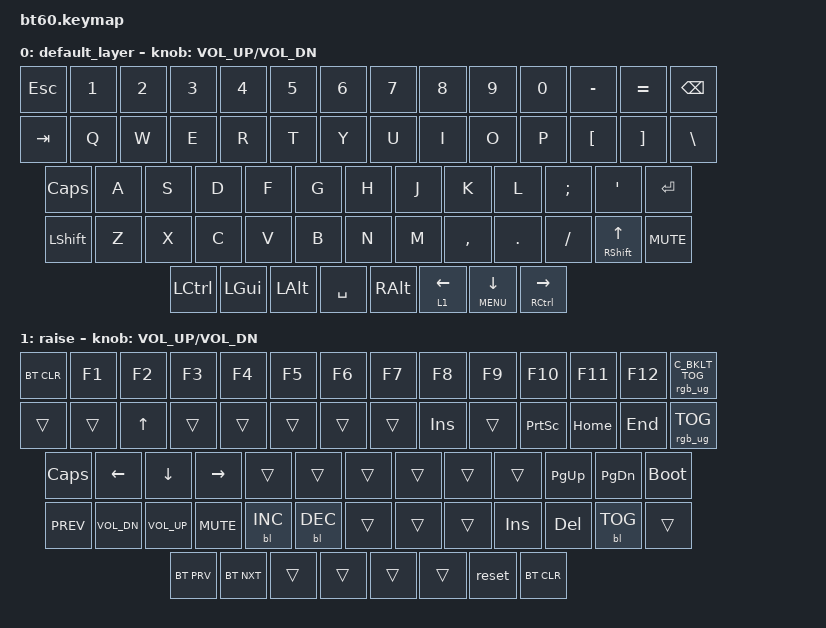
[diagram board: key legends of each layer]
#include <behaviors.dtsi>
#include <dt-bindings/zmk/keys.h>
#include <dt-bindings/zmk/bt.h>
#include <dt-bindings/zmk/rgb.h>
#include <dt-bindings/zmk/backlight.h>

/ {
	keymap {
		compatible = "zmk,keymap";

		default_layer {
				// ------------------------------------------------------------------------------------------
				// |  `  |  1  |  2  |  3  |  4  |  5  |  6  |  7  |  8  |  9  |  0  |  -  |  =  |   BKSP
				// | TAB  |  Q  |  W  |  E  |  R  |  T  |  Y  |  U  |  I  |  O  |  P  |  [  |  ]  |   |
				// | CAPS  |  A  |  S  |  D  |  F  |  G  |  H  |  J  |  K  |  L  |  ;  |  '  |     ENTER
				// |  SHIFT    |  Z  |  X  |  C  |  V  |  B  |  N  |  M  |  ,  |  .  | /   |      SHIFT | Encoder
				// |  CTL  |  WIN  |  ALT  |            SPACE               | ALT | 1    |  MENU    |  CTRL
				// ------------------------------------------------------------------------------------------
			bindings = <

				&kp ESC &kp N1 &kp N2 &kp N3 &kp N4 &kp N5 &kp N6 &kp N7 &kp  N8   &kp  N9 &kp  N0  &kp MINUS &kp EQUAL &kp BSPC
				&kp TAB  &kp Q  &kp W  &kp E  &kp R  &kp T  &kp Y  &kp U  &kp  I    &kp  O  &kp  P   &kp LBKT &kp RBKT   &kp BSLH
				&kp CAPS  &kp A  &kp S  &kp D  &kp F  &kp G  &kp H  &kp J  &kp  K    &kp  L  &kp SEMI &kp SQT            &kp RET
				&kp LSHFT  &kp Z  &kp X  &kp C  &kp V  &kp B  &kp N  &kp M  &kp COMMA &kp DOT &kp FSLH                   &mt RSHFT UP &kp C_MUTE
				&kp LCTRL &kp LGUI &kp LALT            &kp SPACE                          &kp RALT  &lt 1 LEFT &mt C_MENU DOWN  &mt RCTRL RIGHT
			>;
			sensor-bindings = <&inc_dec_kp C_VOL_UP C_VOL_DN>;
		};
		raise {
			bindings = <
				&bt BT_CLR &kp F1 &kp F2 &kp F3 &kp F4 &kp F5 &kp F6 &kp F7 &kp F8 &kp F9 &kp F10 &kp F11 &kp F12 &rgb_ug C_BKLT_TOG
				&trans &trans &kp UP &trans &trans &trans &trans &trans &kp INS &trans &kp PSCRN &kp HOME &kp END &rgb_ug RGB_TOG
				&kp CAPS    &kp LEFT &kp DOWN &kp RIGHT &trans &trans &trans &trans &trans &trans &kp PG_UP  &kp PG_DN   &bootloader
				&kp C_PREV &kp C_VOL_DN &kp C_VOL_UP &kp C_MUTE &bl BL_INC &bl BL_DEC &trans &trans &trans &kp INSERT &kp DELETE  &bl BL_TOG &trans
				&bt BT_PRV &bt BT_NXT  &trans              &trans                            &trans   &trans   &reset &bt BT_CLR
			>;
			sensor-bindings = <&inc_dec_kp C_VOL_UP C_VOL_DN>;
		};
	};
};
